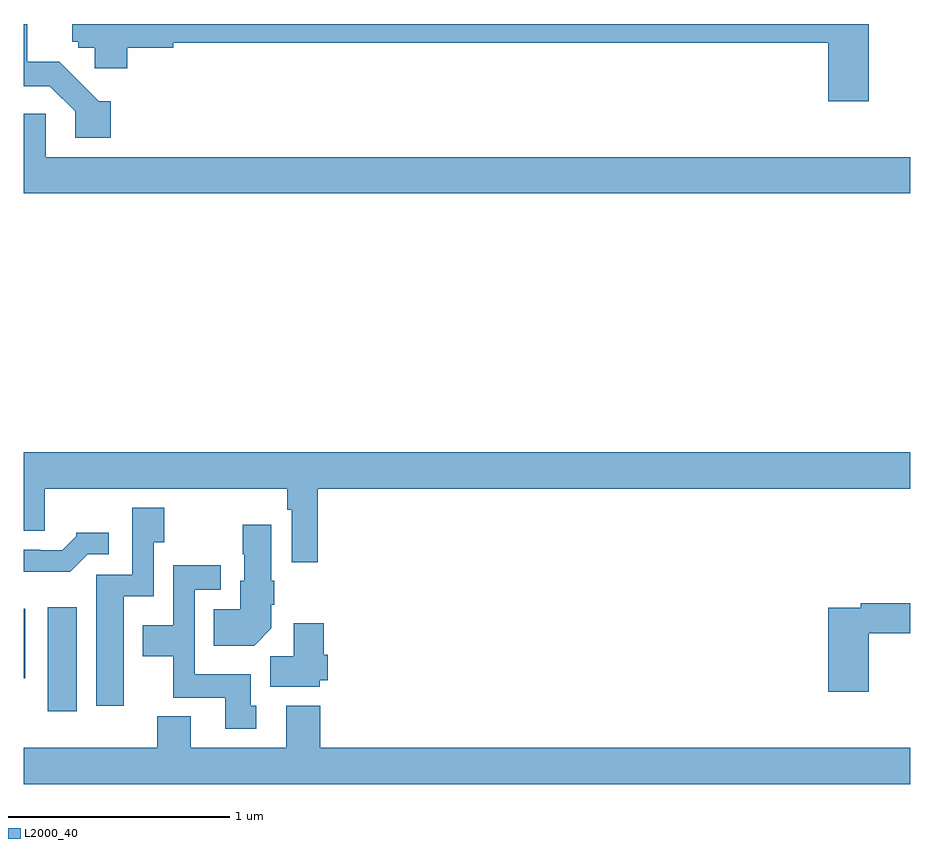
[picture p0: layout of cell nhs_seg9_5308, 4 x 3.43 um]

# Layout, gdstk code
import gdstk
lib = gdstk.Library(unit=1e-6, precision=1e-09)
def R(c, l, rs):  # rectangles x0, y0, x1, y1
    for r in rs: c.add(gdstk.rectangle(r[:2], r[2:], *l))
def P(c, l, *ps):  # polygons
    for p in ps: c.add(gdstk.Polygon(p, *l))
L2000_40 = (2000, 40)

nhs_seg9_5308 = lib.new_cell('nhs_seg9_5308')
R(nhs_seg9_5308, L2000_40, [(419.108,1211.4,419.239,1211.869), (419,1211.549,419.008,1211.863)])
P(nhs_seg9_5308, L2000_40, [(422.813,1214.5),(419.219,1214.5),(419.219,1214.421),(419.247,1214.421),(419.247,1214.394),(419.322,1214.394),(419.322,1214.3),(419.468,1214.3),(419.468,1214.393),(419.674,1214.393),(419.674,1214.416),(422.63,1214.416),(422.63,1214.151),(422.813,1214.151)],
  [(419.393,1214.152),(419.339,1214.152),(419.161,1214.33),(419.017,1214.33),(419.017,1214.5),(419,1214.5),(419,1214.22),(419.118,1214.22),(419.232,1214.106),(419.232,1213.986),(419.393,1213.986)],
  [(423,1213.9),(419.1,1213.9),(419.1,1214.095),(419,1214.095),(419,1213.736),(423,1213.736)],
  [(420.326,1212.404),(423,1212.404),(423,1212.568),(419,1212.568),(419,1212.214),(419.095,1212.214),(419.095,1212.404),(420.19,1212.404),(420.19,1212.308),(420.21,1212.308),(420.21,1212.072),(420.326,1212.072)],
  [(419.452,1211.918),(419.586,1211.918),(419.586,1212.163),(419.634,1212.163),(419.634,1212.319),(419.49,1212.319),(419.49,1212.015),(419.327,1212.015),(419.327,1211.424),(419.452,1211.424)],
  [(420.118,1211.774),(420.118,1211.881),(420.131,1211.881),(420.131,1211.988),(420.118,1211.988),(420.118,1212.241),(419.989,1212.241),(419.989,1212.108),(419.996,1212.108),(419.996,1211.988),(419.978,1211.988),(419.978,1211.86),(419.857,1211.86),(419.857,1211.696),(420.04,1211.696)],
  [(419.289,1212.108),(419.383,1212.108),(419.383,1212.205),(419.238,1212.205),(419.238,1212.19),(419.174,1212.126),(419.075,1212.126),(419.075,1212.129),(419,1212.129),(419,1212.03),(419.211,1212.03)],
  [(420.049,1211.424),(420.025,1211.424),(420.025,1211.566),(419.772,1211.566),(419.772,1211.949),(419.89,1211.949),(419.89,1212.058),(419.676,1212.058),(419.676,1211.788),(419.537,1211.788),(419.537,1211.648),(419.674,1211.648),(419.674,1211.462),(419.909,1211.462),(419.909,1211.322),(420.049,1211.322)],
  [(422.813,1211.752),(423,1211.752),(423,1211.888),(422.776,1211.888),(422.776,1211.868),(422.63,1211.868),(422.63,1211.487),(422.813,1211.487)],
  [(420.336,1211.541),(420.371,1211.541),(420.371,1211.655),(420.353,1211.655),(420.353,1211.797),(420.218,1211.797),(420.218,1211.648),(420.113,1211.648),(420.113,1211.51),(420.336,1211.51)],
  [(423,1211.236),(420.338,1211.236),(420.338,1211.425),(420.185,1211.425),(420.185,1211.236),(419.755,1211.236),(419.755,1211.377),(419.603,1211.377),(419.603,1211.236),(419,1211.236),(419,1211.072),(423,1211.072)])

lib.write_gds('nhs_seg9_5308.gds')
